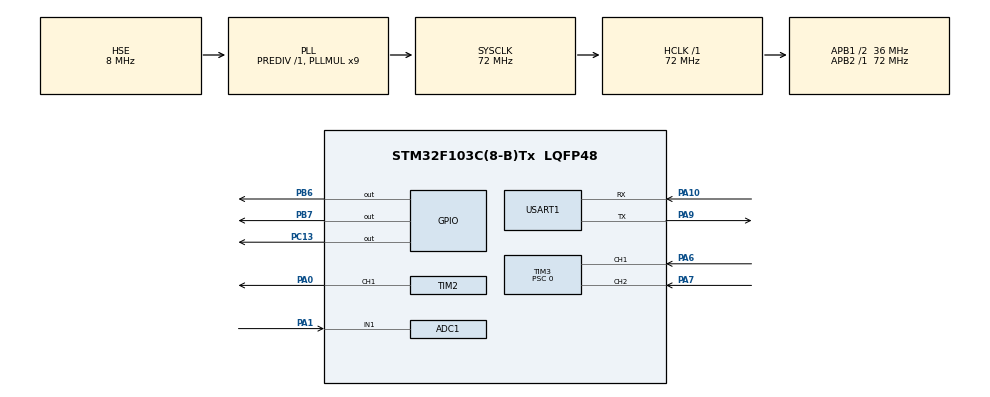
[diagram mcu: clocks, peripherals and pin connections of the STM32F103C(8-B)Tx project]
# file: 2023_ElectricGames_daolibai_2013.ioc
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ADC1.Channel-1\#ChannelRegularConversion=ADC_CHANNEL_1
ADC1.NbrOfConversionFlag=1
ADC1.Rank-1\#ChannelRegularConversion=1
ADC1.SamplingTime-1\#ChannelRegularConversion=ADC_SAMPLETIME_1CYCLE_5
ADC1.master=1
Mcu.Family=STM32F1
Mcu.Name=STM32F103C(8-B)Tx
Mcu.Package=LQFP48
NVIC.ADC1_2_IRQn=true\:0\:0\:false\:false\:true\:true\:true
NVIC.PriorityGroup=NVIC_PRIORITYGROUP_4
NVIC.TIM2_IRQn=true\:0\:0\:false\:false\:true\:true\:true
NVIC.TIM3_IRQn=true\:0\:0\:false\:false\:true\:true\:true
NVIC.USART1_IRQn=true\:0\:0\:false\:false\:true\:true\:true
PA0-WKUP.Signal=S_TIM2_CH1_ETR
PA1.Signal=ADCx_IN1
PA10.Mode=Asynchronous
PA10.Signal=USART1_RX
PA13.Mode=Serial_Wire
PA13.Signal=SYS_JTMS-SWDIO
PA14.Mode=Serial_Wire
PA14.Signal=SYS_JTCK-SWCLK
PA6.Signal=S_TIM3_CH1
PA7.Signal=S_TIM3_CH2
PA9.Mode=Asynchronous
PA9.Signal=USART1_TX
PB6.Signal=GPIO_Output
PB7.Signal=GPIO_Output
PC13-TAMPER-RTC.Signal=GPIO_Output
PC14-OSC32_IN.Mode=LSE-External-Oscillator
PC14-OSC32_IN.Signal=RCC_OSC32_IN
PC15-OSC32_OUT.Mode=LSE-External-Oscillator
PC15-OSC32_OUT.Signal=RCC_OSC32_OUT
PD0-OSC_IN.Mode=HSE-External-Oscillator
PD0-OSC_IN.Signal=RCC_OSC_IN
PD1-OSC_OUT.Mode=HSE-External-Oscillator
PD1-OSC_OUT.Signal=RCC_OSC_OUT
ProjectManager.HeapSize=0x200
ProjectManager.StackSize=0x400
ProjectManager.TargetToolchain=MDK-ARM V5.27
RCC.ADCPresc=RCC_ADCPCLK2_DIV6
RCC.AHBFreq_Value=72000000
RCC.APB1CLKDivider=RCC_HCLK_DIV2
RCC.APB1Freq_Value=36000000
RCC.APB1TimFreq_Value=72000000
RCC.APB2Freq_Value=72000000
RCC.APB2TimFreq_Value=72000000
RCC.HCLKFreq_Value=72000000
RCC.PLLMUL=RCC_PLL_MUL9
RCC.PLLSourceVirtual=RCC_PLLSOURCE_HSE
RCC.SYSCLKFreq_VALUE=72000000
RCC.SYSCLKSource=RCC_SYSCLKSOURCE_PLLCLK
RCC.USBFreq_Value=72000000
SH.ADCx_IN1.0=ADC1_IN1,IN1
SH.S_TIM2_CH1_ETR.0=TIM2_CH1,PWM Generation1 CH1
SH.S_TIM3_CH1.0=TIM3_CH1,Encoder_Interface
SH.S_TIM3_CH2.0=TIM3_CH2,Encoder_Interface
TIM2.Channel-PWM\ Generation1\ CH1=TIM_CHANNEL_1
TIM2.Period=2000-1
TIM2.Prescaler=72-1
TIM3.EncoderMode=TIM_ENCODERMODE_TI12
TIM3.Period=65535
TIM3.Prescaler=0
USART1.VirtualMode=VM_ASYNC
VP_TIM2_VS_ClockSourceINT.Mode=Internal
board=custom

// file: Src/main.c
/* USER CODE BEGIN Header */
/**
  ******************************************************************************
  * @file           : main.c
  * @brief          : Main program body
  ******************************************************************************
  * @attention
  *
  * <h2><center>&copy; Copyright (c) 2023 STMicroelectronics.
  * All rights reserved.</center></h2>
  *
  * This software component is licensed by ST under BSD 3-Clause license,
  * the "License"; You may not use this file except in compliance with the
  * License. You may obtain a copy of the License at:
  *                        opensource.org/licenses/BSD-3-Clause
  *
  ******************************************************************************
  */
/* USER CODE END Header */

#include "main.h"
#include "adc.h"
#include "tim.h"
#include "usart.h"
#include "gpio.h"

/* USER CODE BEGIN Includes */
#include "pid.h"
#include "demo.h"
#include "algorithm.h"
#define HAL_USART 1
#define RXBUFFERSIZE 256

char RxBuffer[RXBUFFERSIZE];
struct FILE{

   int handle;
};

int fputc(int ch,struct FILE *f)
{
	HAL_UART_Transmit(&huart1,(uint8_t*)&ch,1,0xffff);

	return ch;
}
/* USER CODE END Includes */

/* USER CODE BEGIN PTD */
uint32_t ADC_value=0;
float ADC_volt=0;
int timer=0;
int realspeed_MA=0;
uint32_t ADCValue_arr[7]={0};
/* USER CODE END PTD */

void SystemClock_Config(void);

/* USER CODE BEGIN 0 */
 int Read_MA_Encoder(uint8_t TIMX)
{
	int Encoder_MA_TIM;
	switch(TIMX)
	{
		case 3:
			Encoder_MA_TIM=(short)TIM3->CNT;
			TIM3->CNT=0;
			break;

		default:
			Encoder_MA_TIM=0;
	}
	return Encoder_MA_TIM;
}

void HAL_ADC_ConvCpltCallback(ADC_HandleTypeDef* hadc)
{
	for(int i=5;i>=0;i--)
	{
		ADCValue_arr[i+1]=ADCValue_arr[i];
	}
	ADCValue_arr[0]=HAL_ADC_GetValue(&hadc1);
	ADC_value=ADCVolt_fliter(ADCValue_arr,7);
	ADC_volt=(float)ADC_value*360/4096-180;
}

void HAL_TIM_PeriodElapsedCallback(TIM_HandleTypeDef *htim)//1ms
{
	timer++;
    HAL_ADC_Start_IT(&hadc1);
	if(timer>=20)
	{
		realspeed_MA=Read_MA_Encoder(3);
		timer=0;
	}
	//MotoRunTest();
	//StraightPrepare();
	StraightRun();
	printf("%f,%d,%f\n",ADC_volt*500,straightangle*500,d);

}
/* USER CODE END 0 */

int main(void)
{

  /* MCU Configuration--------------------------------------------------------*/

  /* Reset of all peripherals, Initializes the Flash interface and the Systick. */
  HAL_Init();

  /* Configure the system clock */
  SystemClock_Config();

  /* Initialize all configured peripherals */
  MX_GPIO_Init();
  MX_ADC1_Init();
  MX_TIM2_Init();
  MX_TIM3_Init();
  MX_USART1_UART_Init();
  /* USER CODE BEGIN 2 */
  HAL_TIM_Base_Start_IT(&htim2);
  HAL_TIM_Encoder_Start(&htim3,TIM_CHANNEL_ALL);
  HAL_TIM_PWM_Start(&htim2,TIM_CHANNEL_1);
  pid_Init();
  DemoInit();
  /* USER CODE END 2 */

  /* Infinite loop */
   while (1)
  {

  }
}

void SystemClock_Config(void)
{
  RCC_OscInitTypeDef RCC_OscInitStruct = {0};
  RCC_ClkInitTypeDef RCC_ClkInitStruct = {0};
  RCC_PeriphCLKInitTypeDef PeriphClkInit = {0};

  /** Initializes the CPU, AHB and APB busses clocks
  */
  RCC_OscInitStruct.OscillatorType = RCC_OSCILLATORTYPE_HSE;
  RCC_OscInitStruct.HSEState = RCC_HSE_ON;
  RCC_OscInitStruct.HSEPredivValue = RCC_HSE_PREDIV_DIV1;
  RCC_OscInitStruct.HSIState = RCC_HSI_ON;
  RCC_OscInitStruct.PLL.PLLState = RCC_PLL_ON;
  RCC_OscInitStruct.PLL.PLLSource = RCC_PLLSOURCE_HSE;
  RCC_OscInitStruct.PLL.PLLMUL = RCC_PLL_MUL9;
  if (HAL_RCC_OscConfig(&RCC_OscInitStruct) != HAL_OK)
  {
    Error_Handler();
  }
  /** Initializes the CPU, AHB and APB busses clocks
  */
  RCC_ClkInitStruct.ClockType = RCC_CLOCKTYPE_HCLK|RCC_CLOCKTYPE_SYSCLK
                              |RCC_CLOCKTYPE_PCLK1|RCC_CLOCKTYPE_PCLK2;
  RCC_ClkInitStruct.SYSCLKSource = RCC_SYSCLKSOURCE_PLLCLK;
  RCC_ClkInitStruct.AHBCLKDivider = RCC_SYSCLK_DIV1;
  RCC_ClkInitStruct.APB1CLKDivider = RCC_HCLK_DIV2;
  RCC_ClkInitStruct.APB2CLKDivider = RCC_HCLK_DIV1;

  if (HAL_RCC_ClockConfig(&RCC_ClkInitStruct, FLASH_LATENCY_2) != HAL_OK)
  {
    Error_Handler();
  }
  PeriphClkInit.PeriphClockSelection = RCC_PERIPHCLK_ADC;
  PeriphClkInit.AdcClockSelection = RCC_ADCPCLK2_DIV6;
  if (HAL_RCCEx_PeriphCLKConfig(&PeriphClkInit) != HAL_OK)
  {
    Error_Handler();
  }
}

void Error_Handler(void)
{
}

/************************ (C) COPYRIGHT STMicroelectronics *****END OF FILE****/
